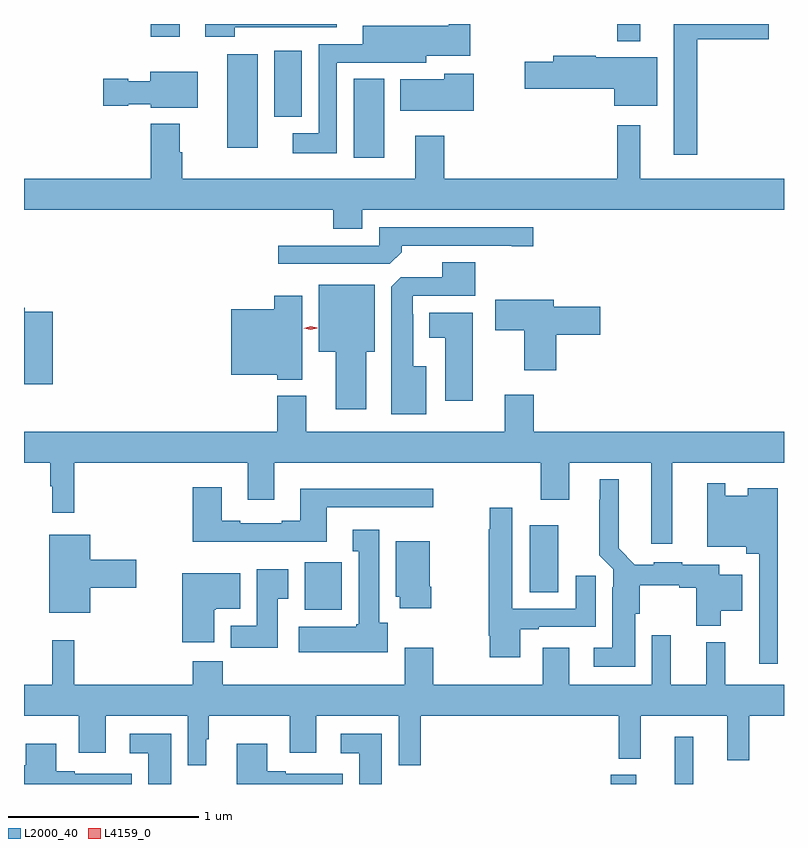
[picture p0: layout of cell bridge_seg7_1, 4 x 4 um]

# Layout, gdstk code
import gdstk
lib = gdstk.Library(unit=1e-6, precision=1e-09)
def R(c, l, rs):  # rectangles x0, y0, x1, y1
    for r in rs: c.add(gdstk.rectangle(r[:2], r[2:], *l))
def P(c, l, *ps):  # polygons
    for p in ps: c.add(gdstk.Polygon(p, *l))
L2000_40 = (2000, 40)
L4159_0 = (4159, 0)

bridge_seg7_1 = lib.new_cell('bridge_seg7_1')
R(bridge_seg7_1, L2000_40, [(1038.692,1048.21,1038.826,1048.258), (1039.029,1048.21,1039.126,1048.459), (1037.081,1049.126,1037.277,1049.377), (1038.266,1049.218,1038.415,1049.572), (1037.339,1051.506,1037.5,1051.921), (1036.673,1051.56,1036.834,1052.05), (1036.922,1051.721,1037.065,1052.068), (1038.727,1052.12,1038.847,1052.21), (1036.271,1052.142,1036.423,1052.21)])
P(bridge_seg7_1, L2000_40, [(1039.147,1052.129),(1039.525,1052.129),(1039.525,1052.21),(1039.025,1052.21),(1039.025,1051.521),(1039.147,1051.521)],
  [(1036.712,1052.193),(1037.251,1052.193),(1037.251,1052.21),(1036.559,1052.21),(1036.559,1052.142),(1036.712,1052.142)],
  [(1037.25,1052.007),(1037.496,1052.007),(1037.496,1052.006),(1037.722,1052.006),(1037.722,1052.042),(1037.953,1052.042),(1037.953,1052.208),(1037.84,1052.208),(1037.84,1052.2),(1037.387,1052.2),(1037.387,1052.103),(1037.154,1052.103),(1037.154,1051.636),(1037.019,1051.636),(1037.019,1051.529),(1037.25,1051.529)],
  [(1038.937,1052.035),(1038.614,1052.035),(1038.614,1052.042),(1038.389,1052.042),(1038.389,1052.012),(1038.24,1052.012),(1038.24,1051.87),(1038.71,1051.87),(1038.71,1051.781),(1038.937,1051.781)],
  [(1036.519,1051.96),(1036.268,1051.96),(1036.268,1051.909),(1036.152,1051.909),(1036.152,1051.922),(1036.02,1051.922),(1036.02,1051.78),(1036.152,1051.78),(1036.152,1051.787),(1036.272,1051.787),(1036.272,1051.769),(1036.519,1051.769)],
  [(1037.971,1051.948),(1037.815,1051.948),(1037.815,1051.918),(1037.585,1051.918),(1037.585,1051.754),(1037.971,1051.754)],
  [(1037.383,1051.232),(1039.604,1051.232),(1039.604,1051.396),(1038.847,1051.396),(1038.847,1051.678),(1038.726,1051.678),(1038.726,1051.396),(1037.816,1051.396),(1037.816,1051.621),(1037.663,1051.621),(1037.663,1051.396),(1036.436,1051.396),(1036.436,1051.535),(1036.423,1051.535),(1036.423,1051.684),(1036.271,1051.684),(1036.271,1051.396),(1035.604,1051.396),(1035.604,1051.232),(1037.231,1051.232),(1037.231,1051.133),(1037.383,1051.133)],
  [(1037.591,1051.01),(1037.591,1051.044),(1038.17,1051.044),(1038.17,1051.039),(1038.283,1051.039),(1038.283,1051.14),(1037.475,1051.14),(1037.475,1051.044),(1036.941,1051.044),(1036.941,1050.948),(1037.529,1050.948)],
  [(1037.722,1050.409),(1037.653,1050.409),(1037.653,1050.683),(1037.649,1050.683),(1037.649,1050.78),(1037.98,1050.78),(1037.98,1050.955),(1037.804,1050.955),(1037.804,1050.876),(1037.586,1050.876),(1037.537,1050.827),(1037.537,1050.155),(1037.722,1050.155)],
  [(1037.404,1050.485),(1037.449,1050.485),(1037.449,1050.838),(1037.156,1050.838),(1037.156,1050.485),(1037.246,1050.485),(1037.246,1050.183),(1037.404,1050.183)],
  [(1037.068,1050.781),(1036.922,1050.781),(1036.922,1050.709),(1036.694,1050.709),(1036.694,1050.365),(1036.938,1050.365),(1036.938,1050.338),(1037.068,1050.338)],
  [(1038.404,1050.575),(1038.637,1050.575),(1038.637,1050.722),(1038.391,1050.722),(1038.391,1050.76),(1038.084,1050.76),(1038.084,1050.598),(1038.236,1050.598),(1038.236,1050.387),(1038.404,1050.387)],
  [(1035.755,1050.696),(1035.608,1050.696),(1035.608,1050.716),(1035.604,1050.716),(1035.604,1050.315),(1035.755,1050.315)],
  [(1037.965,1050.691),(1037.738,1050.691),(1037.738,1050.56),(1037.822,1050.56),(1037.822,1050.228),(1037.965,1050.228)],
  [(1039.015,1049.9),(1039.604,1049.9),(1039.604,1050.064),(1038.287,1050.064),(1038.287,1050.259),(1038.134,1050.259),(1038.134,1050.064),(1037.089,1050.064),(1037.089,1050.253),(1036.937,1050.253),(1036.937,1050.064),(1035.604,1050.064),(1035.604,1049.9),(1035.741,1049.9),(1035.741,1049.777),(1035.752,1049.777),(1035.752,1049.637),(1035.869,1049.637),(1035.869,1049.9),(1036.781,1049.9),(1036.781,1049.706),(1036.921,1049.706),(1036.921,1049.9),(1038.323,1049.9),(1038.323,1049.706),(1038.475,1049.706),(1038.475,1049.9),(1038.905,1049.9),(1038.905,1049.475),(1039.015,1049.475)],
  [(1038.82,1049.106),(1038.846,1049.106),(1038.846,1049.255),(1039.052,1049.255),(1039.052,1049.243),(1039.141,1049.243),(1039.141,1049.042),(1039.27,1049.042),(1039.27,1049.123),(1039.384,1049.123),(1039.384,1049.311),(1039.264,1049.311),(1039.264,1049.365),(1039.068,1049.365),(1039.068,1049.377),(1038.918,1049.377),(1038.918,1049.365),(1038.819,1049.365),(1038.733,1049.452),(1038.733,1049.815),(1038.635,1049.815),(1038.635,1049.705),(1038.631,1049.705),(1038.631,1049.414),(1038.705,1049.34),(1038.705,1049.246),(1038.701,1049.246),(1038.701,1048.927),(1038.603,1048.927),(1038.603,1048.826),(1038.82,1048.826)],
  [(1039.57,1049.767),(1039.412,1049.767),(1039.412,1049.728),(1039.296,1049.728),(1039.296,1049.794),(1039.2,1049.794),(1039.2,1049.459),(1039.405,1049.459),(1039.405,1049.423),(1039.473,1049.423),(1039.473,1048.842),(1039.57,1048.842)],
  [(1037.197,1049.667),(1037.757,1049.667),(1037.757,1049.764),(1037.057,1049.764),(1037.057,1049.596),(1036.961,1049.596),(1036.961,1049.583),(1036.741,1049.583),(1036.741,1049.596),(1036.645,1049.596),(1036.645,1049.773),(1036.493,1049.773),(1036.493,1049.486),(1037.197,1049.486)],
  [(1038.217,1049.025),(1038.313,1049.025),(1038.313,1049.037),(1038.613,1049.037),(1038.613,1049.305),(1038.509,1049.305),(1038.509,1049.133),(1038.175,1049.133),(1038.175,1049.665),(1038.056,1049.665),(1038.056,1049.552),(1038.049,1049.552),(1038.049,1048.99),(1038.056,1048.99),(1038.056,1048.878),(1038.217,1048.878)],
  [(1037.518,1049.058),(1037.473,1049.058),(1037.473,1049.548),(1037.333,1049.548),(1037.333,1049.435),(1037.366,1049.435),(1037.366,1049.052),(1037.353,1049.052),(1037.353,1049.038),(1037.049,1049.038),(1037.049,1048.904),(1037.518,1048.904)],
  [(1035.952,1049.243),(1036.195,1049.243),(1036.195,1049.39),(1035.952,1049.39),(1035.952,1049.521),(1035.737,1049.521),(1035.737,1049.111),(1035.952,1049.111)],
  [(1037.748,1049.248),(1037.74,1049.248),(1037.74,1049.488),(1037.561,1049.488),(1037.561,1049.196),(1037.582,1049.196),(1037.582,1049.136),(1037.748,1049.136)],
  [(1036.939,1049.185),(1036.996,1049.185),(1036.996,1049.341),(1036.829,1049.341),(1036.829,1049.044),(1036.691,1049.044),(1036.691,1048.926),(1036.939,1048.926)],
  [(1036.606,1049.126),(1036.612,1049.126),(1036.612,1049.132),(1036.741,1049.132),(1036.741,1049.32),(1036.436,1049.32),(1036.436,1048.956),(1036.606,1048.956)],
  [(1036.564,1048.446),(1036.576,1048.446),(1036.576,1048.568),(1037.003,1048.568),(1037.003,1048.374),(1037.143,1048.374),(1037.143,1048.568),(1037.577,1048.568),(1037.577,1048.308),(1037.693,1048.308),(1037.693,1048.568),(1038.733,1048.568),(1038.733,1048.343),(1038.851,1048.343),(1038.851,1048.568),(1039.304,1048.568),(1039.304,1048.335),(1039.421,1048.335),(1039.421,1048.568),(1039.604,1048.568),(1039.604,1048.732),(1039.295,1048.732),(1039.295,1048.957),(1039.196,1048.957),(1039.196,1048.732),(1039.007,1048.732),(1039.007,1048.993),(1038.909,1048.993),(1038.909,1048.732),(1038.475,1048.732),(1038.475,1048.927),(1038.335,1048.927),(1038.335,1048.732),(1037.757,1048.732),(1037.757,1048.927),(1037.609,1048.927),(1037.609,1048.732),(1036.649,1048.732),(1036.649,1048.856),(1036.493,1048.856),(1036.493,1048.732),(1035.869,1048.732),(1035.869,1048.966),(1035.752,1048.966),(1035.752,1048.732),(1035.604,1048.732),(1035.604,1048.568),(1035.893,1048.568),(1035.893,1048.374),(1036.033,1048.374),(1036.033,1048.568),(1036.467,1048.568),(1036.467,1048.308),(1036.564,1048.308)],
  [(1036.378,1048.474),(1036.161,1048.474),(1036.161,1048.373),(1036.259,1048.373),(1036.259,1048.21),(1036.378,1048.21)],
  [(1037.488,1048.474),(1037.271,1048.474),(1037.271,1048.373),(1037.369,1048.373),(1037.369,1048.21),(1037.488,1048.21)],
  [(1036.171,1048.263),(1035.871,1048.263),(1035.871,1048.276),(1035.775,1048.276),(1035.775,1048.423),(1035.614,1048.423),(1035.614,1048.31),(1035.604,1048.31),(1035.604,1048.21),(1036.171,1048.21)],
  [(1037.281,1048.263),(1036.981,1048.263),(1036.981,1048.276),(1036.885,1048.276),(1036.885,1048.423),(1036.724,1048.423),(1036.724,1048.21),(1037.281,1048.21)])
P(bridge_seg7_1, L4159_0, [(1037.112,1050.6),(1037.076,1050.609),(1037.075,1050.609),(1037.076,1050.61),(1037.112,1050.62),(1037.148,1050.611),(1037.148,1050.611),(1037.148,1050.61)])

lib.write_gds('bridge_seg7_1.gds')
